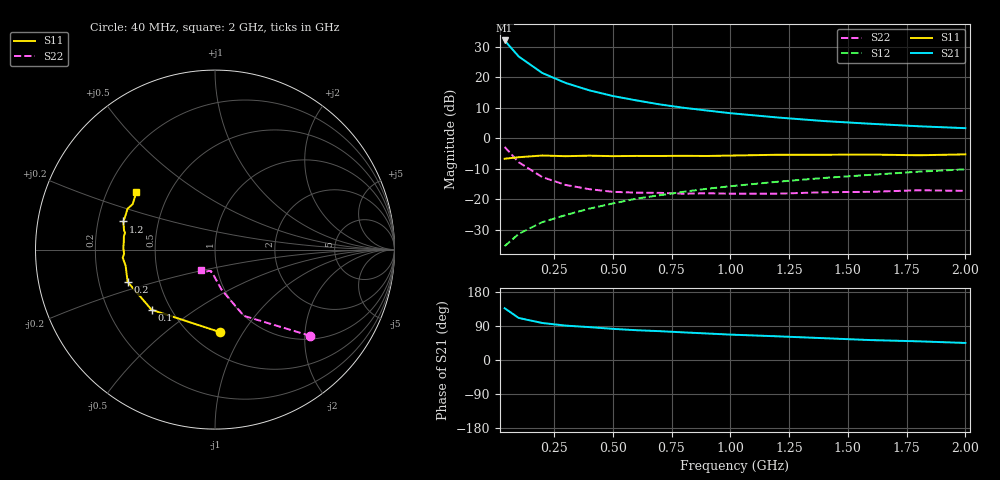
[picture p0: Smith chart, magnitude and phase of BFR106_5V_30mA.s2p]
! Filename:  BFR106B.S2P  Version:  2.0
! Philips part #: BFR106  Date: Jun 1990
! Bias condition: Vce=5V, Ic=30mA
#  MHz  S  MA  R  50
! Freq  S11  S21  S12  S22  !GUM [dB]
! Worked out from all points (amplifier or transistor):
!   16 points, 40 MHz to 2 GHz, reference 50 ohm
!   highest |S21| = 32.0 dB at 40 MHz (marker M1)
!   |S21| within 3 dB of that: start of sweep to 74.27 MHz
!   unconditionally stable (mu >= 1): 328 MHz to 1.938 GHz
!   at 200 MHz: K = 0.86, MSG = 24.4 dB, |S12| = -27.5 dB
!   at 800 MHz: K = 1.06, MAG = 12.2 dB, |S12| = -17.6 dB
!   at 2 GHz: K = 0.99, MSG = 6.7 dB, |S12| = -10.2 dB
!   S11 on the Smith chart (normalised r, x): 40 MHz: 0.68, -0.79; 100 MHz: 0.39, -0.34; 200 MHz: 0.33, -0.16; 1.2 GHz: 0.31, +0.14; 2 GHz: 0.33, +0.29
40  0.46 -86.7  39.78 136.7  0.017 63.4  0.717 -42.1
100  0.487 -136.5  21.73 110.9  0.027 56.5  0.403 -66.4
200  0.519 -159.7  11.68 97.7  0.042 63.0  0.23 -80.3
300  0.506 -169.8  8.005 90.7  0.055 66.6  0.171 -87.5
400  0.516 -175.0  6.068 86.8  0.07 69.2  0.146 -92.3
500  0.507 -177.4  4.899 82.2  0.085 70.6  0.132 -95.7
600  0.511 179.1  4.153 78.6  0.102 70.9  0.128 -97.9
700  0.51 175.4  3.568 76.1  0.116 71.1  0.127 -98.9
800  0.513 171.6  3.146 72.9  0.132 71.2  0.123 -100.1
900  0.51 169.3  2.834 70.0  0.148 71.2  0.125 -99.7
1000  0.518 168.1  2.561 67.0  0.163 70.2  0.123 -101.6
1200  0.534 162.9  2.18 62.5  0.193 69.3  0.123 -106.2
1400  0.534 158.3  1.902 57.5  0.223 67.6  0.13 -110.6
1600  0.538 155.0  1.716 52.5  0.251 66.5  0.132 -113.0
1800  0.524 151.1  1.565 49.3  0.282 64.7  0.14 -117.5
2000  0.542 144.0  1.456 45.0  0.308 63.2  0.137 -123.5
